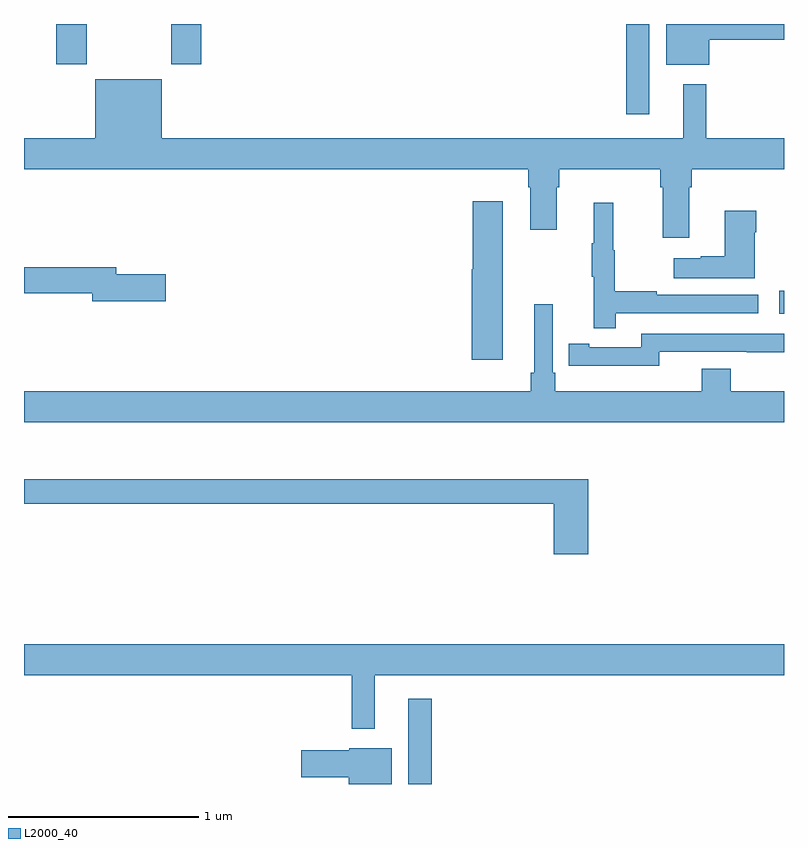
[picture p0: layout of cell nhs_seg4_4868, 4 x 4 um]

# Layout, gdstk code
import gdstk
lib = gdstk.Library(unit=1e-6, precision=1e-09)
def R(c, l, rs):  # rectangles x0, y0, x1, y1
    for r in rs: c.add(gdstk.rectangle(r[:2], r[2:], *l))
def P(c, l, *ps):  # polygons
    for p in ps: c.add(gdstk.Polygon(p, *l))
L2000_40 = (2000, 40)

nhs_seg4_4868 = lib.new_cell('nhs_seg4_4868')
R(nhs_seg4_4868, L2000_40, [(375.023,810.9,375.145,811.348), (376.974,813.375,377,813.495), (376.17,814.425,376.291,814.9), (373.169,814.689,373.329,814.9), (373.774,814.689,373.934,814.9)])
P(nhs_seg4_4868, L2000_40, [(376.606,814.816),(377,814.816),(377,814.9),(376.379,814.9),(376.379,814.685),(376.606,814.685)],
  [(376.501,814.04),(376.514,814.04),(376.514,814.136),(377,814.136),(377,814.3),(376.591,814.3),(376.591,814.582),(376.469,814.582),(376.469,814.3),(373.726,814.3),(373.726,814.609),(373.376,814.609),(373.376,814.3),(373,814.3),(373,814.136),(375.653,814.136),(375.653,814.04),(375.665,814.04),(375.665,813.816),(375.805,813.816),(375.805,814.04),(375.818,814.04),(375.818,814.136),(376.349,814.136),(376.349,814.04),(376.361,814.04),(376.361,813.774),(376.501,813.774)],
  [(375.52,813.967),(375.362,813.967),(375.362,813.609),(375.356,813.609),(375.356,813.132),(375.52,813.132)],
  [(376.115,813.378),(376.864,813.378),(376.864,813.474),(376.331,813.474),(376.331,813.494),(376.108,813.494),(376.108,813.708),(376.1,813.708),(376.1,813.958),(375.998,813.958),(375.998,813.745),(375.987,813.745),(375.987,813.571),(375.998,813.571),(375.998,813.3),(376.115,813.3)],
  [(376.846,813.803),(376.854,813.803),(376.854,813.916),(376.688,813.916),(376.688,813.677),(376.562,813.677),(376.562,813.667),(376.419,813.667),(376.419,813.563),(376.846,813.563)],
  [(373.747,813.584),(373.486,813.584),(373.486,813.62),(373,813.62),(373,813.484),(373.358,813.484),(373.358,813.442),(373.747,813.442)],
  [(377,812.968),(376.721,812.968),(376.721,813.085),(376.568,813.085),(376.568,812.968),(375.797,812.968),(375.797,813.064),(375.783,813.064),(375.783,813.424),(375.686,813.424),(375.686,813.064),(375.667,813.064),(375.667,812.968),(373,812.968),(373,812.804),(377,812.804)],
  [(376.344,813.174),(376.804,813.174),(376.804,813.173),(377,813.173),(377,813.27),(376.248,813.27),(376.248,813.198),(375.976,813.198),(375.976,813.218),(375.868,813.218),(375.868,813.102),(375.976,813.102),(375.976,813.101),(376.344,813.101)],
  [(375.971,812.503),(373,812.503),(373,812.374),(375.788,812.374),(375.788,812.109),(375.971,812.109)],
  [(374.845,811.472),(377,811.472),(377,811.636),(373,811.636),(373,811.472),(374.724,811.472),(374.724,811.191),(374.845,811.191)],
  [(374.935,811.087),(374.712,811.087),(374.712,811.077),(374.46,811.077),(374.46,810.935),(374.708,810.935),(374.708,810.9),(374.935,810.9)])

lib.write_gds('nhs_seg4_4868.gds')
